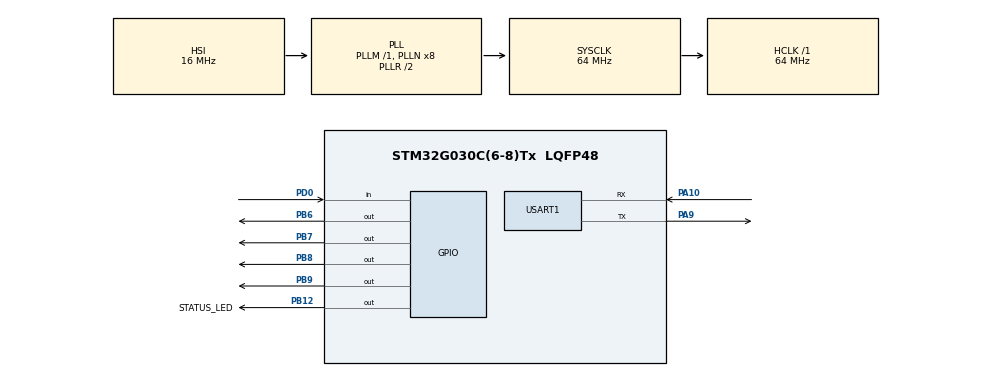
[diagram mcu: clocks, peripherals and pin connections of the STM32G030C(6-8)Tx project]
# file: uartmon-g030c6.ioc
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Dma.Request0=USART1_RX
Dma.USART1_RX.0.Direction=DMA_PERIPH_TO_MEMORY
Dma.USART1_RX.0.EventEnable=DISABLE
Dma.USART1_RX.0.Instance=DMA1_Channel1
Dma.USART1_RX.0.MemDataAlignment=DMA_MDATAALIGN_BYTE
Dma.USART1_RX.0.MemInc=DMA_MINC_ENABLE
Dma.USART1_RX.0.Mode=DMA_CIRCULAR
Dma.USART1_RX.0.PeriphDataAlignment=DMA_PDATAALIGN_BYTE
Dma.USART1_RX.0.PeriphInc=DMA_PINC_DISABLE
Dma.USART1_RX.0.Polarity=HAL_DMAMUX_REQ_GEN_RISING
Dma.USART1_RX.0.Priority=DMA_PRIORITY_LOW
Dma.USART1_RX.0.RequestNumber=1
Dma.USART1_RX.0.SignalID=NONE
Dma.USART1_RX.0.SyncEnable=DISABLE
Dma.USART1_RX.0.SyncPolarity=HAL_DMAMUX_SYNC_NO_EVENT
Dma.USART1_RX.0.SyncRequestNumber=1
Dma.USART1_RX.0.SyncSignalID=NONE
Mcu.Family=STM32G0
Mcu.Name=STM32G030C(6-8)Tx
Mcu.Package=LQFP48
NVIC.DMA1_Channel1_IRQn=true\:0\:0\:false\:false\:true\:false\:true
NVIC.USART1_IRQn=true\:0\:0\:false\:false\:true\:true\:true
PA10.Mode=Asynchronous
PA10.Signal=USART1_RX
PA13.Mode=Serial_Wire
PA13.Signal=SYS_SWDIO
PA14-BOOT0.Mode=Serial_Wire
PA14-BOOT0.Signal=SYS_SWCLK
PA9.Mode=Asynchronous
PA9.Signal=USART1_TX
PB12.GPIO_Label=STATUS_LED
PB12.Signal=GPIO_Output
PB6.Signal=GPIO_Output
PB7.Signal=GPIO_Output
PB8.Signal=GPIO_Output
PB9.Signal=GPIO_Output
PD0.GPIO_PuPd=GPIO_PULLDOWN
PD0.Signal=GPIO_Input
PF0-OSC_IN\ (PF0).Mode=HSE-External-Oscillator
PF0-OSC_IN\ (PF0).Signal=RCC_OSC_IN
PF1-OSC_OUT\ (PF1).Mode=HSE-External-Oscillator
PF1-OSC_OUT\ (PF1).Signal=RCC_OSC_OUT
ProjectManager.HeapSize=0x200
ProjectManager.StackSize=0x400
ProjectManager.TargetToolchain=Makefile
RCC.ADCFreq_Value=64000000
RCC.AHBFreq_Value=64000000
RCC.CortexFreq_Value=64000000
RCC.EXTERNAL_CLOCK_VALUE=12288000
RCC.HCLKFreq_Value=64000000
RCC.HSE_VALUE=16000000
RCC.HSI_VALUE=16000000
RCC.LSE_VALUE=32768
RCC.SYSCLKFreq_VALUE=64000000
RCC.SYSCLKSource=RCC_SYSCLKSOURCE_PLLCLK
RCC.VCOOutputFreq_Value=128000000
USART1.VirtualMode-Asynchronous=VM_ASYNC
board=custom

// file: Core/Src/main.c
/* USER CODE BEGIN Header */
/**
  ******************************************************************************
  * @file           : main.c
  * @brief          : Main program body
  ******************************************************************************
  * @attention
  *
  * <h2><center>&copy; Copyright (c) 2022 STMicroelectronics.
  * All rights reserved.</center></h2>
  *
  * This software component is licensed by ST under BSD 3-Clause license,
  * the "License"; You may not use this file except in compliance with the
  * License. You may obtain a copy of the License at:
  *                        opensource.org/licenses/BSD-3-Clause
  *
  ******************************************************************************
  */
/* USER CODE END Header */
#include "main.h"
#include "dma.h"
#include "usart.h"
#include "gpio.h"

/* USER CODE BEGIN Includes */
#include "ssd1306-spi.h"
/* USER CODE END Includes */

/* USER CODE BEGIN PD */
#define RX_BUF_LEN 255

#define DISP_MAX_X 18
#define DISP_MAX_Y 7
/* USER CODE END PD */

/* USER CODE BEGIN PV */
struct {
   uint16_t lastReceived;
   uint16_t lastProcessed;
} processor;

struct {
   uint16_t x;
   uint16_t y;
} cursor;

uint32_t dispTimer = 0; // Timer for DISPLAY task
uint32_t ledTimer = 0; // Timer for LED task

volatile uint8_t idlef = 0;
volatile uint8_t rx_buff[RX_BUF_LEN];

extern UART_HandleTypeDef huart1;
extern DMA_HandleTypeDef hdma_usart1_rx;
/* USER CODE END PV */

void SystemClock_Config(void);
/* USER CODE BEGIN PFP */
void setup();
void runTaskManager();
void ledTask();
void displayTask();
void processBuffer();
void processCR();
void processLF();
/* USER CODE END PFP */

/* USER CODE BEGIN 0 */
int main(void) {
    setup();

    while(1) {
        runTaskManager();
    }
}

void setup() {
    HAL_Init();

    SystemClock_Config();

    MX_GPIO_Init();
    MX_DMA_Init();
    MX_USART1_UART_Init();

    ssd1306_Init();

    ssd1306_Fill(Black);
    ssd1306_SetCursor(46, 28);
    ssd1306_WriteString("READY", Font_7x9, White);
    ssd1306_UpdateScreen();

    HAL_Delay(750);

    ssd1306_Fill(Black);
    ssd1306_SetCursor(0, 0);
    ssd1306_UpdateScreen();

    __HAL_UART_CLEAR_FLAG(&huart1, UART_CLEAR_IDLEF);
    __HAL_UART_ENABLE_IT(&huart1, UART_IT_IDLE);

    HAL_UART_Receive_DMA(&huart1, rx_buff, RX_BUF_LEN);

}

void processCR() {
    cursor.x = 0;
    ssd1306_SetCursor(cursor.x*7, cursor.y*9);
}

void processLF() {
    if (cursor.y + 1 == DISP_MAX_Y) {
        //ssd1306_ShiftUp();
        ssd1306_Fill(Black);
        cursor.y = 0;
    } else {
        cursor.y++;
    }
    processCR();
}

void processBuffer() {
    idlef = 0;
    uint8_t x = 0;
    processor.lastProcessed = processor.lastReceived;
    processor.lastReceived = RX_BUF_LEN - hdma_usart1_rx.Instance->CNDTR;
    //ssd1306_SetCursor(0, 35);
    //ssd1306_WriteChar((processor.lastReceived - processor.lastProcessed) % 100 / 10 + 48, Font_7x9, White);
    //ssd1306_WriteChar((processor.lastReceived - processor.lastProcessed) % 10 + 48, Font_7x9, White);
    while (processor.lastProcessed != processor.lastReceived) {
        //x++;

        switch(rx_buff[processor.lastProcessed]) {

            case '\r':
                processCR();
                break;

            case '\n':
                processLF();
                break;

            default : /* Optional */
                ssd1306_WriteChar(rx_buff[processor.lastProcessed], Font_7x9, White);
                if (cursor.x + 1 == DISP_MAX_X) {
                    processLF();
                } else {
                    cursor.x++;
                }
        }

        processor.lastProcessed = (processor.lastProcessed + 1) % RX_BUF_LEN;

    }
    //ssd1306_WriteChar((x) % 100 / 10 + 48, Font_7x9, White);
    //ssd1306_WriteChar((x) % 10 + 48, Font_7x9, White);
}

void runTaskManager() {
    if (ledTimer + 250 < HAL_GetTick()) {
        ledTask(); // runs each 250ms
        ledTimer = HAL_GetTick();
    }

    if (dispTimer + 100 < HAL_GetTick()) {
        displayTask(); // runs each 100ms
        dispTimer = HAL_GetTick();
    }

    if (idlef) {
        //ssd1306_SetCursor(0, 50);
        //ssd1306_WriteString("IDLE", Font_7x9, White);

        //HAL_UART_Transmit(&huart1, "OK\r\n", 4, 10);
        processBuffer();
    }

}

void ledTask() {
    HAL_GPIO_TogglePin(GPIOB, GPIO_PIN_12);
}

void displayTask() {
    ssd1306_UpdateScreen();
}
/* USER CODE END 0 */

void SystemClock_Config(void)
{
  RCC_OscInitTypeDef RCC_OscInitStruct = {0};
  RCC_ClkInitTypeDef RCC_ClkInitStruct = {0};
  RCC_PeriphCLKInitTypeDef PeriphClkInit = {0};

  /** Configure the main internal regulator output voltage
  */
  HAL_PWREx_ControlVoltageScaling(PWR_REGULATOR_VOLTAGE_SCALE1);
  /** Initializes the RCC Oscillators according to the specified parameters
  * in the RCC_OscInitTypeDef structure.
  */
  RCC_OscInitStruct.OscillatorType = RCC_OSCILLATORTYPE_HSI;
  RCC_OscInitStruct.HSIState = RCC_HSI_ON;
  RCC_OscInitStruct.HSIDiv = RCC_HSI_DIV1;
  RCC_OscInitStruct.HSICalibrationValue = RCC_HSICALIBRATION_DEFAULT;
  RCC_OscInitStruct.PLL.PLLState = RCC_PLL_ON;
  RCC_OscInitStruct.PLL.PLLSource = RCC_PLLSOURCE_HSI;
  RCC_OscInitStruct.PLL.PLLM = RCC_PLLM_DIV1;
  RCC_OscInitStruct.PLL.PLLN = 8;
  RCC_OscInitStruct.PLL.PLLP = RCC_PLLP_DIV2;
  RCC_OscInitStruct.PLL.PLLR = RCC_PLLR_DIV2;
  if (HAL_RCC_OscConfig(&RCC_OscInitStruct) != HAL_OK)
  {
    Error_Handler();
  }
  /** Initializes the CPU, AHB and APB buses clocks
  */
  RCC_ClkInitStruct.ClockType = RCC_CLOCKTYPE_HCLK|RCC_CLOCKTYPE_SYSCLK
                              |RCC_CLOCKTYPE_PCLK1;
  RCC_ClkInitStruct.SYSCLKSource = RCC_SYSCLKSOURCE_PLLCLK;
  RCC_ClkInitStruct.AHBCLKDivider = RCC_SYSCLK_DIV1;
  RCC_ClkInitStruct.APB1CLKDivider = RCC_HCLK_DIV1;

  if (HAL_RCC_ClockConfig(&RCC_ClkInitStruct, FLASH_LATENCY_2) != HAL_OK)
  {
    Error_Handler();
  }
  /** Initializes the peripherals clocks
  */
  PeriphClkInit.PeriphClockSelection = RCC_PERIPHCLK_USART1;
  PeriphClkInit.Usart1ClockSelection = RCC_USART1CLKSOURCE_PCLK1;
  if (HAL_RCCEx_PeriphCLKConfig(&PeriphClkInit) != HAL_OK)
  {
    Error_Handler();
  }
}

void Error_Handler(void)
{
  __disable_irq();
  while (1)
  {
  }
}

/************************ (C) COPYRIGHT STMicroelectronics *****END OF FILE****/
